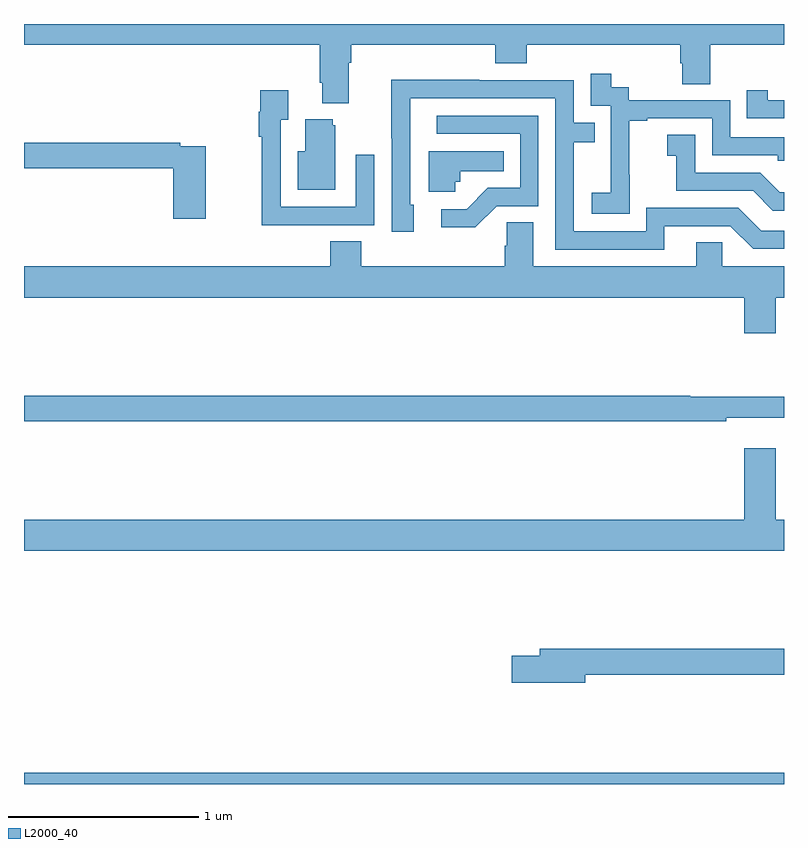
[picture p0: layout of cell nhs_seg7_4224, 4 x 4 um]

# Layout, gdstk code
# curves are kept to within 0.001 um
import gdstk
lib = gdstk.Library(unit=1e-6, precision=1e-09)
def R(c, l, rs):  # rectangles x0, y0, x1, y1
    for r in rs: c.add(gdstk.rectangle(r[:2], r[2:], *l))
def P(c, l, *ps):  # polygons
    for p in ps: c.add(gdstk.Polygon(p, *l))
L2000_40 = (2000, 40)

nhs_seg7_4224 = lib.new_cell('nhs_seg7_4224')
R(nhs_seg7_4224, L2000_40, [(377,1054,381,1054.06)])
P(nhs_seg7_4224, L2000_40, [(378.709,1057.796),(378.722,1057.796),(378.722,1057.892),(379.481,1057.892),(379.481,1057.793),(379.646,1057.793),(379.646,1057.892),(380.453,1057.892),(380.453,1057.794),(380.465,1057.794),(380.465,1057.684),(380.613,1057.684),(380.613,1057.892),(381,1057.892),(381,1058),(377,1058),(377,1057.892),(378.557,1057.892),(378.557,1057.69),(378.569,1057.69),(378.569,1057.583),(378.709,1057.583)],
  [(380.187,1057.207),(380.186,1057.207),(380.186,1057.491),(380.281,1057.491),(380.281,1057.503),(380.622,1057.503),(380.622,1057.308),(380.967,1057.308),(380.967,1057.281),(381,1057.281),(381,1057.404),(380.718,1057.404),(380.718,1057.599),(380.184,1057.599),(380.184,1057.668),(380.092,1057.668),(380.092,1057.738),(379.983,1057.738),(379.983,1057.569),(380.088,1057.569),(380.088,1057.34),(380.087,1057.34),(380.087,1057.111),(379.989,1057.111),(379.989,1057.001),(380.187,1057.001)],
  [(380.371,1056.936),(380.718,1056.936),(380.838,1056.816),(381,1056.816),(381,1056.912),(380.88,1056.912),(380.76,1057.032),(380.274,1057.032),(380.274,1056.909),(379.893,1056.909),(379.893,1057.378),(380.003,1057.378),(380.003,1057.479),(379.893,1057.479),(379.893,1057.704),(379.397,1057.704),(379.397,1057.706),(378.934,1057.706),(378.934,1057.399),(378.936,1057.399),(378.936,1056.906),(379.051,1056.906),(379.051,1057.05),(379.032,1057.05),(379.033,1057.608),(379.797,1057.608),(379.797,1056.813),(380.371,1056.813)],
  [(378.527,1056.942),(378.843,1056.942),(378.843,1057.312),(378.747,1057.312),(378.747,1057.038),(378.351,1057.038),(378.351,1057.495),(378.391,1057.495),(378.391,1057.651),(378.243,1057.651),(378.243,1057.538),(378.235,1057.538),(378.235,1057.406),(378.25,1057.406),(378.25,1056.941),(378.527,1056.941)],
  [(381,1057.599),(380.914,1057.599),(380.914,1057.651),(380.803,1057.651),(380.803,1057.503),(381,1057.503)],
  [(379.488,1057.041),(379.707,1057.041),(379.707,1057.518),(379.173,1057.518),(379.173,1057.422),(379.611,1057.422),(379.611,1057.137),(379.442,1057.137),(379.331,1057.026),(379.197,1057.026),(379.197,1056.929),(379.375,1056.929)],
  [(378.637,1057.467),(378.626,1057.467),(378.626,1057.498),(378.479,1057.498),(378.479,1057.33),(378.44,1057.33),(378.44,1057.127),(378.637,1057.127)],
  [(381,1057.114),(380.978,1057.114),(380.874,1057.218),(380.532,1057.218),(380.532,1057.417),(380.385,1057.417),(380.385,1057.307),(380.434,1057.307),(380.434,1057.122),(380.837,1057.122),(380.942,1057.017),(381,1057.017)],
  [(377.956,1057.356),(377.822,1057.356),(377.822,1057.376),(377,1057.376),(377,1057.24),(377.786,1057.24),(377.786,1056.975),(377.956,1056.975)],
  [(379.269,1057.17),(379.296,1057.17),(379.296,1057.226),(379.526,1057.226),(379.526,1057.33),(379.13,1057.33),(379.13,1057.118),(379.269,1057.118)],
  [(380.956,1056.56),(381,1056.56),(381,1056.724),(380.676,1056.724),(380.676,1056.851),(380.537,1056.851),(380.537,1056.724),(379.681,1056.724),(379.681,1056.956),(379.542,1056.956),(379.542,1056.833),(379.529,1056.833),(379.529,1056.724),(378.776,1056.724),(378.776,1056.857),(378.611,1056.857),(378.611,1056.724),(377,1056.724),(377,1056.56),(380.792,1056.56),(380.792,1056.372),(380.956,1056.372)],
  [(380.696,1055.927),(381,1055.927),(381,1056.037),(380.506,1056.037),(380.506,1056.044),(377,1056.044),(377,1055.908),(380.696,1055.908)],
  [(381,1055.392),(380.956,1055.392),(380.956,1055.767),(380.792,1055.767),(380.792,1055.392),(377,1055.392),(377,1055.228),(381,1055.228)],
  [(379.954,1054.576),(381,1054.576),(381,1054.712),(379.715,1054.712),(379.715,1054.676),(379.566,1054.676),(379.566,1054.534),(379.954,1054.534)])

lib.write_gds('nhs_seg7_4224.gds')
